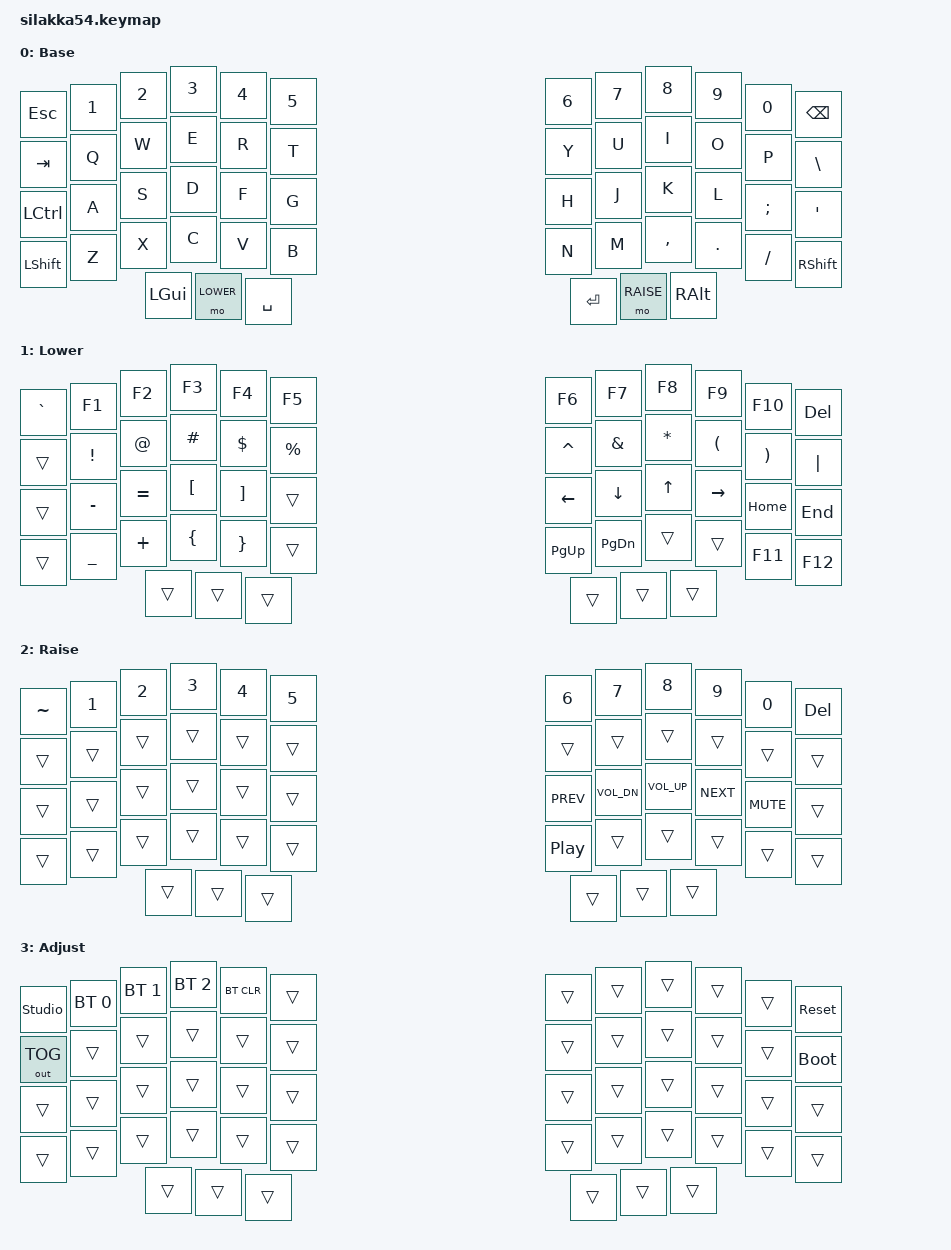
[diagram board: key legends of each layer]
/*
 * Silakka54 — plain starting keymap.
 *
 * Deliberately conventional: standard QWERTY, real modifier keys, no
 * mod-taps or home-row mods. This is a base to customise FROM in ZMK
 * Studio, not a finished layout.
 *
 * Physical position indices (matches silakka54-layouts.dtsi order):
 *   0-11 number row, 12-23 top row, 24-35 home row, 36-47 bottom row,
 *   48-50 left thumbs (outer->inner), 51-53 right thumbs (inner->outer).
 */

#include <behaviors.dtsi>
#include <dt-bindings/zmk/keys.h>
#include <dt-bindings/zmk/bt.h>
#include <dt-bindings/zmk/outputs.h>

#define BASE  0
#define LOWER 1
#define RAISE 2
#define ADJUST 3


/ {
    combos {
        compatible = "zmk,combos";
        /* Kept only as a fallback: CONFIG_ZMK_STUDIO_LOCKING=n means
         * Studio never asks to unlock. If locking is ever re-enabled,
         * F+J unlocks it. 40ms window so it cannot fire during normal
         * typing - an accidental unlock is harmless anyway, it only
         * permits editing. */
        combo_studio_unlock {
            timeout-ms = <40>;
            key-positions = <28 31>;
            bindings = <&studio_unlock>;
        };
    };
};

/ {
    conditional_layers {
        compatible = "zmk,conditional-layers";
        adjust {
            if-layers = <LOWER RAISE>;
            then-layer = <ADJUST>;
        };
    };

    keymap {
        compatible = "zmk,keymap";

        base_layer {
            display-name = "Base";
            bindings = <
&kp ESC   &kp N1 &kp N2 &kp N3   &kp N4    &kp N5        &kp N6 &kp N7    &kp N8    &kp N9  &kp N0   &kp BSPC
&kp TAB   &kp Q  &kp W  &kp E    &kp R     &kp T         &kp Y  &kp U     &kp I     &kp O   &kp P    &kp BSLH
&kp LCTRL &kp A  &kp S  &kp D    &kp F     &kp G         &kp H  &kp J     &kp K     &kp L   &kp SEMI &kp SQT
&kp LSHFT &kp Z  &kp X  &kp C    &kp V     &kp B         &kp N  &kp M     &kp COMMA &kp DOT &kp FSLH &kp RSHFT
                        &kp LGUI &mo LOWER &kp SPACE     &kp RET &mo RAISE &kp RALT
            >;
        };

        lower_layer {
            display-name = "Lower";
            bindings = <
&kp GRAVE &kp F1    &kp F2   &kp F3   &kp F4    &kp F5       &kp F6    &kp F7   &kp F8   &kp F9    &kp F10  &kp DEL
&trans    &kp EXCL  &kp AT   &kp HASH &kp DLLR  &kp PRCNT    &kp CARET &kp AMPS &kp STAR &kp LPAR  &kp RPAR &kp PIPE
&trans    &kp MINUS &kp EQUAL &kp LBKT &kp RBKT &trans       &kp LEFT  &kp DOWN &kp UP   &kp RIGHT &kp HOME &kp END
&trans    &kp UNDER &kp PLUS &kp LBRC &kp RBRC  &trans       &kp PG_UP &kp PG_DN &trans  &trans    &kp F11  &kp F12
                             &trans   &trans    &trans       &trans    &trans   &trans
            >;
        };

        raise_layer {
            display-name = "Raise";
            bindings = <
&kp TILDE &kp N1   &kp N2   &kp N3   &kp N4   &kp N5      &kp N6   &kp N7   &kp N8   &kp N9   &kp N0   &kp DEL
&trans    &trans   &trans   &trans   &trans   &trans      &trans   &trans   &trans   &trans   &trans   &trans
&trans    &trans   &trans   &trans   &trans   &trans      &kp C_PREV &kp C_VOL_DN &kp C_VOL_UP &kp C_NEXT &kp C_MUTE &trans
&trans    &trans   &trans   &trans   &trans   &trans      &kp C_PP &trans   &trans   &trans   &trans   &trans
                            &trans   &trans   &trans      &trans   &trans   &trans
            >;
        };

        adjust_layer {
            display-name = "Adjust";
            bindings = <
&studio_unlock &bt BT_SEL 0 &bt BT_SEL 1 &bt BT_SEL 2 &bt BT_CLR &trans     &trans &trans &trans &trans &trans &sys_reset
&out OUT_TOG &trans &trans &trans &trans &trans               &trans &trans &trans &trans &trans &bootloader
&trans &trans &trans &trans &trans &trans                     &trans &trans &trans &trans &trans &trans
&trans &trans &trans &trans &trans &trans                     &trans &trans &trans &trans &trans &trans
                     &trans &trans &trans                     &trans &trans &trans
            >;
        };
    };
};
